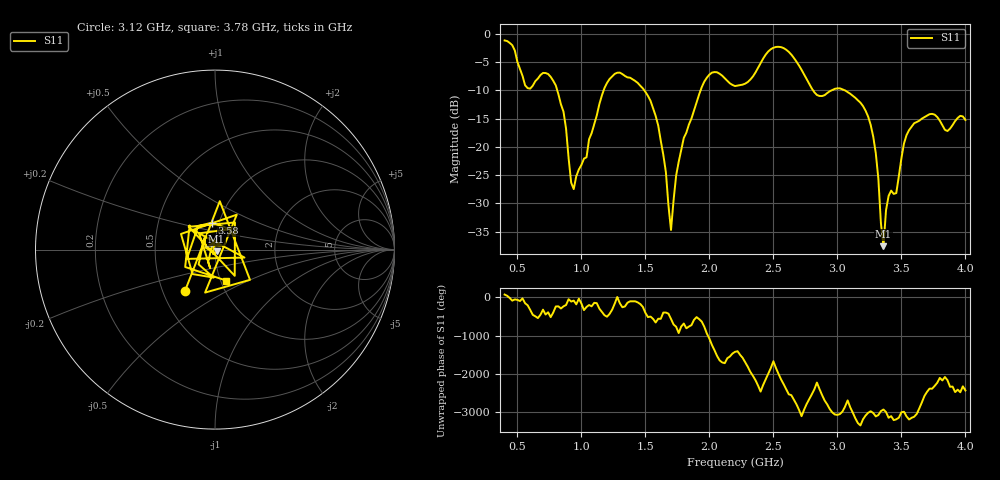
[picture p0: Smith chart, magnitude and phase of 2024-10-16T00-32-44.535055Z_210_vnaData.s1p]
! Created with skrf (http://scikit-rf.org).
# Hz S RI R 50.0
!freq ReS11 ImS11
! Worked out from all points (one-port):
!   181 points, 400 MHz to 4 GHz, reference 50 ohm
!   lowest |S11| = -37.6 dB at 3.36 GHz (marker M1), VSWR 1.03, Z = 50.9 - j0.982 ohm
!   |S11| at or under -10 dB: 811.1 MHz to 1.174 GHz (363 MHz wide, 36.6 % of centre); 1.491 GHz to 1.931 GHz (440.8 MHz wide, 25.8 % of centre); 3.056 GHz to end of sweep (the widest 3 of 4)
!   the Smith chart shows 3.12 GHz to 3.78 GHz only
!   S11 on the Smith chart (normalised r, x): 3.12 GHz: 0.65, -0.32; 3.58 GHz: 0.92, +0.28; 3.78 GHz: 1.06, -0.38
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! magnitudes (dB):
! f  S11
! 400 MHz  -1.2
! 560 MHz  -9.1
! 740 MHz  -7.1
! 860 MHz  -13.8
! 920 MHz  -26.3
! 940 MHz  -27.5
! 1.18 GHz  -9.6
! 1.3 GHz  -6.9
! 1.58 GHz  -14.5
! 1.66 GHz  -24.5
! 1.7 GHz  -34.7
! 1.76 GHz  -22.7
! 1.98 GHz  -7.8
! 2.2 GHz  -9.3
! 2.5 GHz  -2.5
! 2.66 GHz  -4.3
! 2.84 GHz  -10.8
! 3.1 GHz  -10.6
! 3.12 GHz  -11.0
! 3.28 GHz  -18.2
! 3.36 GHz  -37.6
! 3.4 GHz  -28.7
! 3.46 GHz  -28.2
! 3.56 GHz  -17.1
! 3.58 GHz  -16.4
! 3.78 GHz  -14.7
! 3.86 GHz  -17.2
! 4 GHz  -15.3
